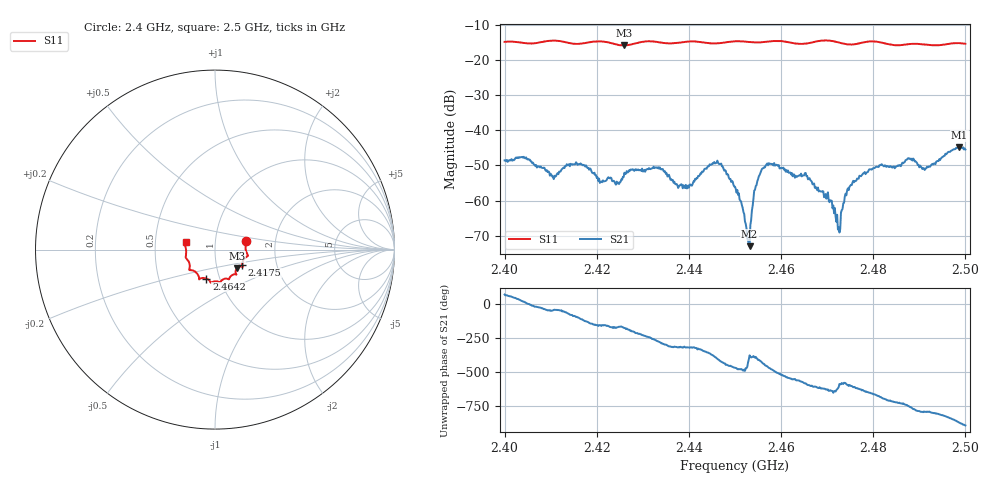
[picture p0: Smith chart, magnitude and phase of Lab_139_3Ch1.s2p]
# Hz S RI R 50
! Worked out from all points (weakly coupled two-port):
!   601 points, 2.4 GHz to 2.5 GHz, reference 50 ohm
!   highest |S21| = -44.85 dB at 2.4987 GHz (marker M1); lowest = -72.9 dB at 2.4532 GHz (marker M2)
!   lowest |S11| = -15.9 dB at 2.4258 GHz (marker M3), VSWR 1.38, Z = 62.4 - j13.2 ohm
!   |S11| at or under -10 dB: start of sweep to end of sweep
!   S12 and S22 are empty: the file has one direction only
!   S11 on the Smith chart (normalised r, x): 2.4 GHz: 1.41, +0.14; 2.4175 GHz: 1.34, -0.23; 2.4642 GHz: 0.86, -0.29; 2.5 GHz: 0.72, +0.06
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2.4e9  0.1733 0.0493  0.00142 0.00344  0 0  0 0
2.410667e9  0.1842 -0.0343  0.00144 -0.00142  0 0  0 0
2.416667e9  0.153 -0.074  -0.00129 -0.00299  0 0  0 0
2.4175e9  0.1521 -0.0836  -0.00183 -0.00244  0 0  0 0
2.421167e9  0.1546 -0.0965  -0.00166 -0.000756  0 0  0 0
2.425833e9  0.1222 -0.1032  -0.00215 -0.000193  0 0  0 0
2.433333e9  0.1136 -0.1373  0.000264 0.00296  0 0  0 0
2.4395e9  0.0795 -0.1623  0.00111 0.000998  0 0  0 0
2.4465e9  0.0436 -0.1666  0.00213 -0.00255  0 0  0 0
2.45e9  0.0288 -0.1815  -0.00047 -0.0015  0 0  0 0
2.453167e9  0.0164 -0.1782  0.000216 -6.46e-05  0 0  0 0
2.4545e9  0.00614 -0.1765  0.00142 -0.000751  0 0  0 0
2.456333e9  -0.00903 -0.1788  0.000531 -0.00293  0 0  0 0
2.464167e9  -0.0481 -0.1615  -0.00202 0.00102  0 0  0 0
2.466667e9  -0.0763 -0.1591  -0.000979 0.00158  0 0  0 0
2.4705e9  -0.0883 -0.1652  8.21e-05 0.000946  0 0  0 0
2.472333e9  -0.0891 -0.1537  -7.88e-05 0.00038  0 0  0 0
2.475333e9  -0.1098 -0.1231  -0.00081 0.00145  0 0  0 0
2.483333e9  -0.1406 -0.0896  0.00296 0.000613  0 0  0 0
2.491167e9  -0.1619 -0.0325  0.000947 -0.00256  0 0  0 0
2.498667e9  -0.1689 0.0358  -0.00488 -0.00298  0 0  0 0
2.5e9  -0.1635 0.0425  -0.00522 -0.00099  0 0  0 0
